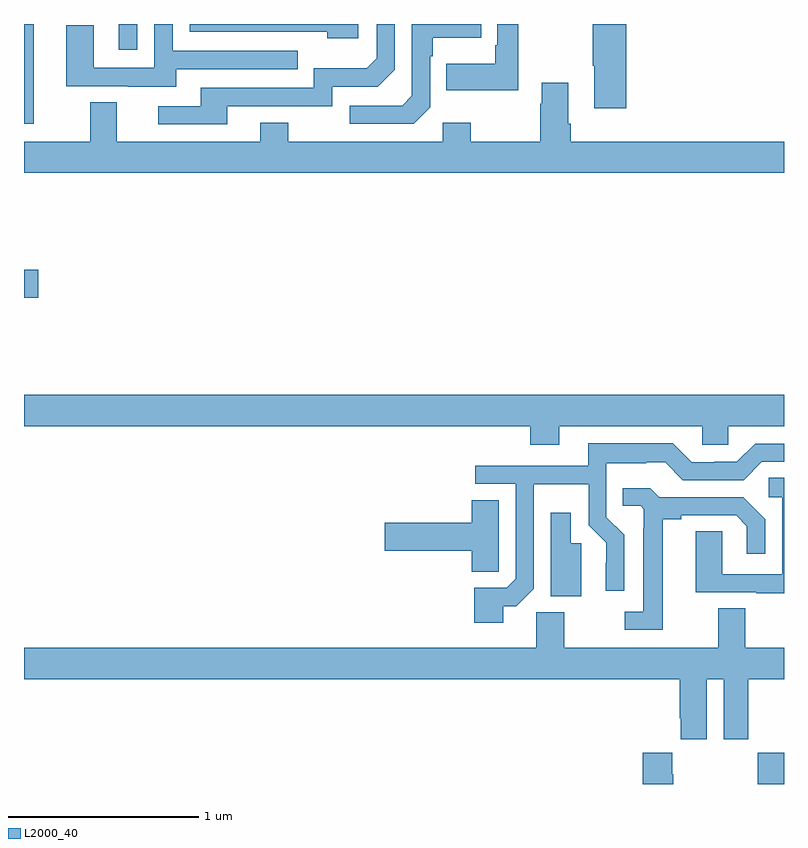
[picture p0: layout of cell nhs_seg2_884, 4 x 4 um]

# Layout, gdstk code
import gdstk
lib = gdstk.Library(unit=1e-6, precision=1e-09)
def R(c, l, rs):  # rectangles x0, y0, x1, y1
    for r in rs: c.add(gdstk.rectangle(r[:2], r[2:], *l))
def P(c, l, *ps):  # polygons
    for p in ps: c.add(gdstk.Polygon(p, *l))
L2000_40 = (2000, 40)

nhs_seg2_884 = lib.new_cell('nhs_seg2_884')
R(nhs_seg2_884, L2000_40, [(160.861,597.8,161,597.964), (157,600.359,157.075,600.506), (157,601.275,157.051,601.8), (157.499,601.665,157.596,601.8)])
P(nhs_seg2_884, L2000_40, [(158.071,601.368),(158.622,601.368),(158.622,601.47),(158.862,601.47),(158.952,601.56),(158.952,601.8),(158.856,601.8),(158.856,601.62),(158.803,601.567),(158.526,601.567),(158.526,601.464),(157.931,601.464),(157.931,601.368),(157.707,601.368),(157.707,601.272),(158.071,601.272)],
  [(159.601,601.8),(159.492,601.8),(159.492,601.687),(159.48,601.687),(159.48,601.591),(159.223,601.591),(159.223,601.451),(159.601,601.451)],
  [(159.138,601.362),(159.138,601.631),(159.151,601.631),(159.151,601.727),(159.407,601.727),(159.407,601.8),(159.042,601.8),(159.042,601.422),(158.991,601.371),(158.715,601.371),(158.715,601.275),(159.051,601.275)],
  [(158.758,601.8),(157.872,601.8),(157.872,601.758),(158.597,601.758),(158.597,601.724),(158.758,601.724)],
  [(157.801,601.563),(158.441,601.563),(158.441,601.659),(157.782,601.659),(157.782,601.8),(157.686,601.8),(157.686,601.569),(157.368,601.569),(157.368,601.793),(157.223,601.793),(157.223,601.473),(157.547,601.473),(157.547,601.469),(157.801,601.469)],
  [(160.169,601.8),(159.994,601.8),(159.994,601.579),(160.001,601.579),(160.001,601.356),(160.169,601.356)],
  [(161,601.18),(159.878,601.18),(159.878,601.276),(159.865,601.276),(159.865,601.492),(159.725,601.492),(159.725,601.379),(159.718,601.379),(159.718,601.18),(159.351,601.18),(159.351,601.279),(159.204,601.279),(159.204,601.18),(158.391,601.18),(158.391,601.279),(158.243,601.279),(158.243,601.18),(157.489,601.18),(157.489,601.388),(157.349,601.388),(157.349,601.18),(157,601.18),(157,601.016),(161,601.016)],
  [(159.817,599.684),(160.569,599.684),(160.569,599.586),(160.707,599.586),(160.707,599.684),(161,599.684),(161,599.848),(157,599.848),(157,599.684),(159.665,599.684),(159.665,599.585),(159.817,599.585)],
  [(159.523,598.735),(159.591,598.735),(159.684,598.827),(159.684,599.378),(159.972,599.378),(159.972,599.162),(160.064,599.07),(160.064,598.964),(160.062,598.964),(160.062,598.818),(160.158,598.818),(160.158,599.112),(160.065,599.205),(160.065,599.489),(160.274,599.489),(160.274,599.493),(160.374,599.493),(160.467,599.4),(160.788,599.4),(160.884,599.496),(161,599.496),(161,599.592),(160.848,599.592),(160.752,599.496),(160.632,599.496),(160.632,599.493),(160.515,599.493),(160.415,599.593),(159.971,599.593),(159.971,599.475),(159.375,599.475),(159.375,599.379),(159.588,599.379),(159.588,598.881),(159.54,598.833),(159.371,598.833),(159.371,598.65),(159.523,598.65)],
  [(161,599.411),(160.92,599.411),(160.92,599.31),(160.992,599.31),(160.992,598.905),(160.674,598.905),(160.674,599.129),(160.535,599.129),(160.535,598.809),(160.853,598.809),(160.853,598.805),(161,598.805)],
  [(160.363,599.194),(160.459,599.194),(160.459,599.214),(160.748,599.214),(160.805,599.157),(160.805,599.013),(160.902,599.013),(160.902,599.194),(160.786,599.31),(160.344,599.31),(160.296,599.357),(160.15,599.357),(160.15,599.265),(160.245,599.265),(160.263,599.247),(160.263,599.147),(160.259,599.147),(160.259,598.707),(160.161,598.707),(160.161,598.611),(160.363,598.611)],
  [(159.498,599.026),(159.499,599.026),(159.499,599.294),(159.356,599.294),(159.356,599.174),(158.898,599.174),(158.898,599.027),(159.356,599.027),(159.356,598.918),(159.498,598.918)],
  [(159.934,599.067),(159.877,599.067),(159.877,599.227),(159.773,599.227),(159.773,598.789),(159.934,598.789)],
  [(160.594,598.352),(160.682,598.352),(160.682,598.035),(160.813,598.035),(160.813,598.352),(161,598.352),(161,598.516),(160.795,598.516),(160.795,598.724),(160.655,598.724),(160.655,598.516),(159.843,598.516),(159.843,598.704),(159.696,598.704),(159.696,598.516),(157,598.516),(157,598.352),(160.451,598.352),(160.451,598.147),(160.457,598.147),(160.457,598.035),(160.594,598.035)],
  [(160.416,597.851),(160.411,597.851),(160.411,597.964),(160.256,597.964),(160.256,597.8),(160.416,597.8)])

lib.write_gds('nhs_seg2_884.gds')
